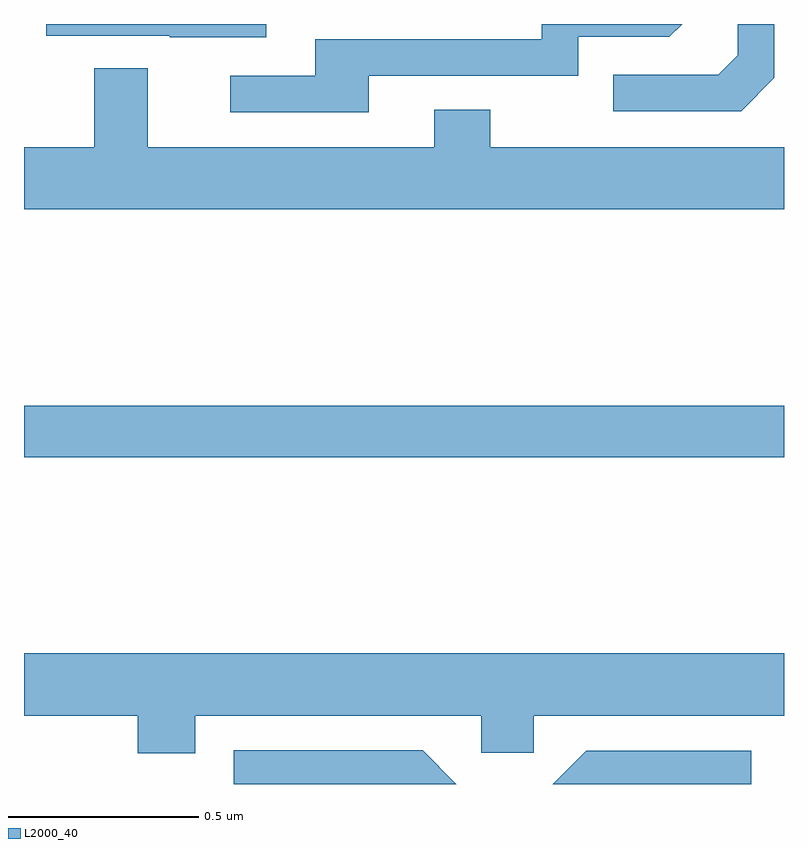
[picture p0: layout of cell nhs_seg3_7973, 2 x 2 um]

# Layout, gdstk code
import gdstk
lib = gdstk.Library(unit=1e-6, precision=1e-09)
def R(c, l, rs):  # rectangles x0, y0, x1, y1
    for r in rs: c.add(gdstk.rectangle(r[:2], r[2:], *l))
def P(c, l, *ps):  # polygons
    for p in ps: c.add(gdstk.Polygon(p, *l))
L2000_40 = (2000, 40)

nhs_seg3_7973 = lib.new_cell('nhs_seg3_7973')
R(nhs_seg3_7973, L2000_40, [(210,704.26,212,704.396)])
P(nhs_seg3_7973, L2000_40, [(210.907,705.264),(211.458,705.264),(211.458,705.366),(211.698,705.366),(211.732,705.4),(211.362,705.4),(211.362,705.36),(210.767,705.36),(210.767,705.264),(210.543,705.264),(210.543,705.168),(210.907,705.168)],
  [(210.637,705.4),(210.059,705.4),(210.059,705.369),(210.383,705.369),(210.383,705.365),(210.637,705.365)],
  [(211.974,705.258),(211.974,705.4),(211.878,705.4),(211.878,705.318),(211.827,705.267),(211.551,705.267),(211.551,705.171),(211.887,705.171)],
  [(212,705.076),(211.227,705.076),(211.227,705.175),(211.079,705.175),(211.079,705.076),(210.325,705.076),(210.325,705.284),(210.185,705.284),(210.185,705.076),(210,705.076),(210,704.912),(212,704.912)],
  [(210.451,703.58),(211.203,703.58),(211.203,703.482),(211.341,703.482),(211.341,703.58),(212,703.58),(212,703.744),(210,703.744),(210,703.58),(210.299,703.58),(210.299,703.481),(210.451,703.481)],
  [(211.049,703.489),(210.552,703.489),(210.552,703.4),(211.138,703.4)],
  [(211.914,703.488),(211.479,703.488),(211.391,703.4),(211.914,703.4)])

lib.write_gds('nhs_seg3_7973.gds')
